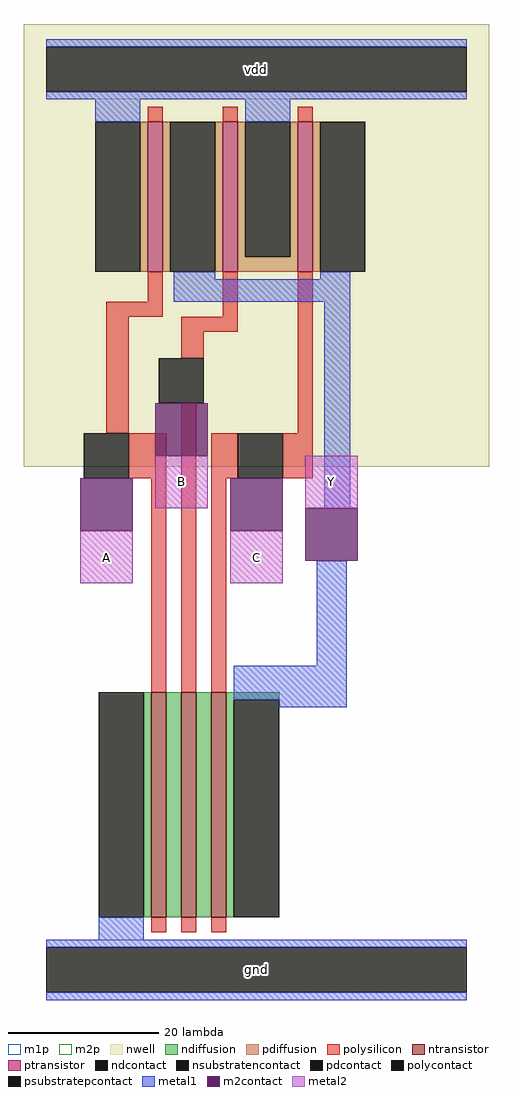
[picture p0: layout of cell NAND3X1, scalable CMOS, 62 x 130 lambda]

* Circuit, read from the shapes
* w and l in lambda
.subckt NAND3X1 A B C Y vdd gnd
M1 n1 A gnd gnd nfet w=30 l=2
M2 n2 B n1 gnd nfet w=30 l=2
M3 Y C n2 gnd nfet w=30 l=2
M4 Y A vdd vdd pfet w=20 l=2
M5 vdd B Y vdd pfet w=20 l=2
M6 Y C vdd vdd pfet w=20 l=2
.ends

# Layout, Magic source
magic
tech scmos
magscale 1 2
<< nwell >>
rect -12 134 112 252
<< ntransistor >>
rect 22 14 26 74
rect 30 14 34 74
rect 38 14 42 74
<< ptransistor >>
rect 21 186 25 226
rect 41 186 45 226
rect 61 186 65 226
<< ndiffusion >>
rect 20 14 22 74
rect 26 14 30 74
rect 34 14 38 74
rect 42 72 56 74
rect 42 14 44 72
<< pdiffusion >>
rect 19 186 21 226
rect 25 186 27 226
rect 39 186 41 226
rect 45 190 47 226
rect 59 190 61 226
rect 45 186 61 190
rect 65 186 67 226
<< ndcontact >>
rect 8 14 20 74
rect 44 14 56 72
<< pdcontact >>
rect 7 186 19 226
rect 27 186 39 226
rect 47 190 59 226
rect 67 186 79 226
<< psubstratepcontact >>
rect -6 -6 106 6
<< nsubstratencontact >>
rect -6 234 106 246
<< polysilicon >>
rect 21 226 25 230
rect 41 226 45 230
rect 61 226 65 230
rect 21 178 25 186
rect 10 174 25 178
rect 41 174 45 186
rect 10 143 16 174
rect 30 170 45 174
rect 30 163 36 170
rect 16 131 26 143
rect 22 74 26 131
rect 30 74 34 151
rect 61 143 65 186
rect 38 131 45 143
rect 57 131 65 143
rect 38 74 42 131
rect 22 10 26 14
rect 30 10 34 14
rect 38 10 42 14
<< polycontact >>
rect 24 151 36 163
rect 4 131 16 143
rect 45 131 57 143
<< metal1 >>
rect -6 246 106 248
rect -6 232 106 234
rect 7 226 19 232
rect 47 226 59 232
rect 28 184 39 186
rect 67 184 75 186
rect 28 178 75 184
rect 68 123 75 178
rect 66 81 74 109
rect 44 72 74 81
rect 56 70 74 72
rect 8 8 20 14
rect -6 6 106 8
rect -6 -8 106 -6
<< m2contact >>
rect 23 137 37 151
rect 3 117 17 131
rect 43 117 57 131
rect 63 109 77 123
<< metal2 >>
rect 23 123 37 137
rect 3 103 17 117
rect 43 103 57 117
rect 63 123 77 137
<< m1p >>
rect -6 232 106 248
rect -6 -8 106 8
<< m2p >>
rect 23 123 37 137
rect 63 123 77 137
rect 3 103 17 117
rect 43 103 57 117
<< labels >>
rlabel metal1 -6 -8 106 8 0 gnd
port 5 nsew ground bidirectional abutment
rlabel metal1 -6 232 106 248 0 vdd
port 4 nsew power bidirectional abutment
rlabel metal2 3 103 17 117 0 A
port 0 nsew signal input
rlabel metal2 23 123 37 137 0 B
port 1 nsew signal input
rlabel metal2 43 103 57 117 0 C
port 2 nsew signal input
rlabel metal2 63 123 77 137 0 Y
port 3 nsew signal output
<< properties >>
string FIXED_BBOX 0 0 100 240
string LEFclass CORE
string LEFsite core
string LEFsymmetry X Y
<< end >>
